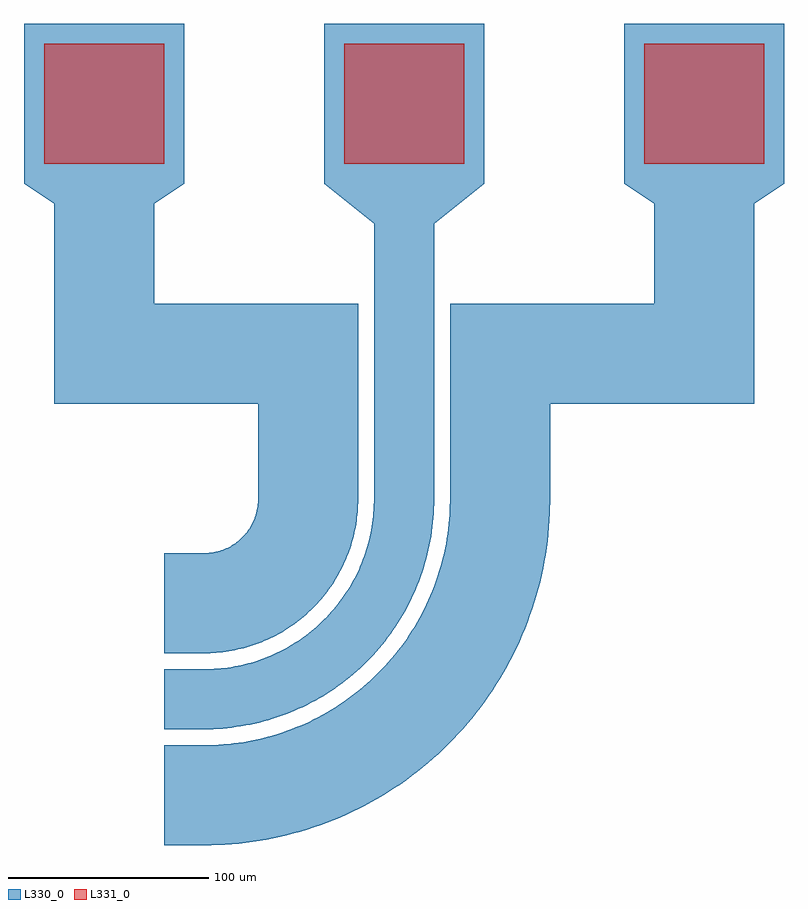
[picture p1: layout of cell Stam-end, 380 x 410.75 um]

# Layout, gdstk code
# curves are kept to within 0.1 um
import gdstk
lib = gdstk.Library(unit=1e-6, precision=1e-09)
def R(c, l, rs):  # rectangles x0, y0, x1, y1
    for r in rs: c.add(gdstk.rectangle(r[:2], r[2:], *l))
def A(c, l, x, y, w, h, nx, ny, dx, dy):  # array of equal rectangles
    R(c, l, [(x+i*dx, y+j*dy, x+i*dx+w, y+j*dy+h) for i in range(nx) for j in range(ny)])
def P(c, l, *ps):  # polygons
    for p in ps: c.add(gdstk.Polygon(p, *l))
L330_0 = (330, 0)
L331_0 = (331, 0)

stam_end = lib.new_cell('Stam-end')
P(stam_end, L330_0, [(0.04,-72.995),(0.04,-22.995),(24.995,-22.9),(32.405,-22.375),(37.325,-21.78),(42.215,-20.985),(49.475,-19.425),(58.99,-16.67),(65.965,-14.105),(75,-10.04),(83.675,-5.26),(89.915,-1.225),(97.835,4.725),(105.245,11.295),(108.75,14.795),(112.11,18.44),(115.32,22.21),(118.375,26.11),(121.27,30.13),(124,34.265),(126.565,38.5),(128.955,42.84),(132.205,49.52),(134.145,54.08),(135.905,58.71),(138.185,65.78),(139.47,70.565),(141.025,77.83),(142.145,85.175),(142.645,90.105),(143.02,97.77),(143.02,197.765),(245.02,197.765),(245.02,247.76),(230.02,257.76),(230.02,337.76),(310.02,337.76),(310.02,257.76),(295.02,247.76),(295.02,147.765),(193.02,147.765),(193.02,97.77),(192.73,89.555),(192.17,82.61),(190.805,72.25),(189.55,65.4),(187.15,55.225),(184.14,45.22),(180.535,35.41),(176.34,25.84),(171.58,16.535),(168.095,10.5),(162.42,1.725),(156.225,-6.69),(149.535,-14.72),(142.375,-22.33),(134.765,-29.49),(126.735,-36.185),(118.32,-42.375),(109.54,-48.05),(100.44,-53.185),(91.045,-57.76),(81.39,-61.76),(71.51,-65.165),(61.445,-67.975),(54.645,-69.505),(44.35,-71.285),(37.43,-72.125),(27.005,-72.86),(20.41,-72.995)],
  [(0.04,-14.995),(0.04,15.005),(23.465,15.075),(30.285,15.625),(37.045,16.72),(42.04,17.9),(45.33,18.85),(51.775,21.15),(58.02,23.96),(61.05,25.55),(65.47,28.16),(69.725,31.035),(72.46,33.095),(75.115,35.26),(78.92,38.7),(81.345,41.12),(84.785,44.93),(87.995,48.94),(89.995,51.72),(91.88,54.575),(94.495,58.995),(96.835,63.565),(98.24,66.685),(100.665,73.085),(101.685,76.355),(102.965,81.325),(103.65,84.68),(104.42,89.755),(105.02,97.77),(105.02,237.76),(80.02,257.76),(80.02,337.76),(160.02,337.76),(160.02,257.76),(135.02,237.76),(135.02,97.685),(134.83,93.06),(134.205,86.14),(133.555,81.555),(131.7,72.48),(129.835,65.79),(128.37,61.395),(124.91,52.805),(120.77,44.52),(115.98,36.595),(110.57,29.08),(104.565,22.025),(98.02,15.475),(90.965,9.475),(83.45,4.065),(75.525,-0.73),(67.24,-4.865),(58.645,-8.325),(49.805,-11.08),(40.77,-13.115),(33.905,-14.16),(24.67,-14.905)],
  [(0.04,23.005),(0.04,73.005),(21.67,73.055),(25.44,73.55),(29.615,74.76),(32.105,75.85),(34.47,77.185),(37.115,79.09),(39.13,80.915),(40.95,82.93),(42.86,85.575),(44.195,87.94),(45.285,90.43),(46.255,93.54),(47.02,97.77),(47.02,147.765),(-54.98,147.765),(-54.98,247.76),(-69.98,257.76),(-69.98,337.76),(10.02,337.76),(10.02,257.76),(-4.98,247.76),(-4.98,197.765),(97.02,197.765),(97.02,97.765),(96.9,95.355),(96.045,87.65),(95.16,83.085),(94,78.58),(92.57,74.155),(90.88,69.82),(87.485,62.855),(84.28,57.55),(80.655,52.515),(76.635,47.795),(72.25,43.41),(67.53,39.39),(62.495,35.765),(57.19,32.56),(51.64,29.79),(47.345,28.01),(41.465,26.045),(35.445,24.56),(29.32,23.565),(21.59,23.02)])
A(stam_end, L331_0, -59.98, 267.76, 60, 60, 3, 1, 150, 0)

lib.write_gds('Stam-end.gds')
